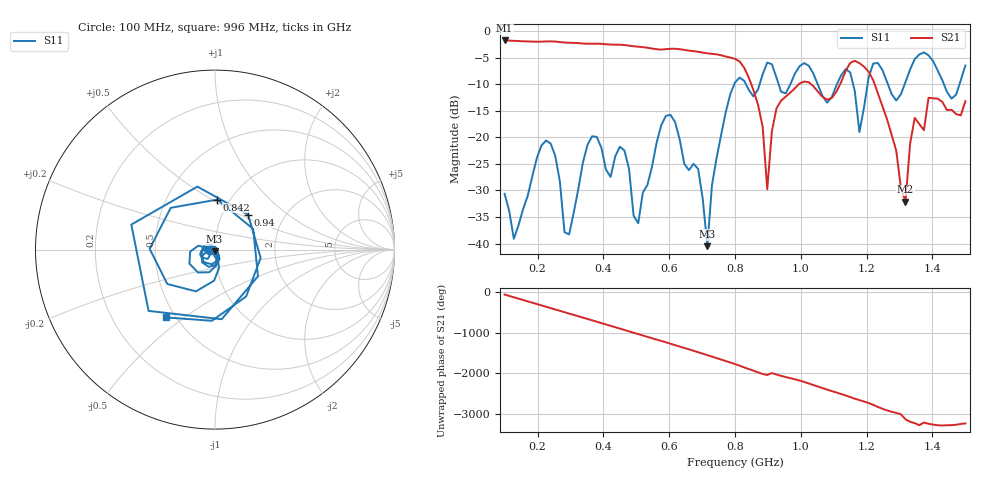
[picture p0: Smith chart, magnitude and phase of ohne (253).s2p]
! NanoVNA-App
! Date: 2025-09-25 14:22:46
! Start: 100MHz Stop: 1,5GHz Points: 101
! S-Parameter data: F S11 S21 S12 S22
# Hz S RI R 50
!  Frequency  S11_Real  S11_Imag  S21_Real  S21_Imag  S12_Real  S12_Imag  S22_Real  S22_Imag
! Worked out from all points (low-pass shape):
!   101 points, 100 MHz to 1.5 GHz, reference 50 ohm
!   highest |S21| = -1.79 dB at 100 MHz (marker M1); lowest = -32.1 dB at 1.318 GHz (marker M2)
!   |S21| within 3 dB of the highest: start of sweep to 770.9 MHz
!   lowest |S11| = -40.5 dB at 716 MHz (marker M3), VSWR 1.02, Z = 49.7 - j0.908 ohm
!   |S11| at or under -10 dB: start of sweep to 798 MHz; 833 MHz to 875 MHz (41.97 MHz wide, 4.91 % of centre); 1.051 GHz to 1.11 GHz (58.95 MHz wide, 5.46 % of centre) (the widest 3 of 7)
!   S12 and S22 are empty: the file has one direction only
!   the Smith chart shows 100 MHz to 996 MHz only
!   S11 on the Smith chart (normalised r, x): 100 MHz: 0.94, -0.01; 842 MHz: 0.88, +0.53; 940 MHz: 1.32, +0.55; 996 MHz: 0.45, -0.43
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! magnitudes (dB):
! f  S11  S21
! 100 MHz  -30.6  -1.8
! 128 MHz  -39.1  -1.9
! 226 MHz  -20.6  -2.0
! 296 MHz  -38.3  -2.2
! 338 MHz  -24.7  -2.4
! 464 MHz  -22.5  -2.7
! 506 MHz  -36.2  -3.0
! 576 MHz  -17.7  -3.5
! 688 MHz  -25.9  -3.9
! 716 MHz  -40.5  -4.2
! 800 MHz  -9.7  -5.2
! 842 MHz  -11.1  -8.8
! 898 MHz  -6.0  -29.8
! 940 MHz  -11.4  -13.1
! 996 MHz  -6.6  -9.9
! 1.038 GHz  -8.0  -10.4
! 1.178 GHz  -19.0  -6.0
! 1.22 GHz  -6.1  -9.3
! 1.276 GHz  -11.9  -19.6
! 1.318 GHz  -9.6  -32.1
! 1.346 GHz  -5.3  -16.4
! 1.5 GHz  -6.5  -13.2
